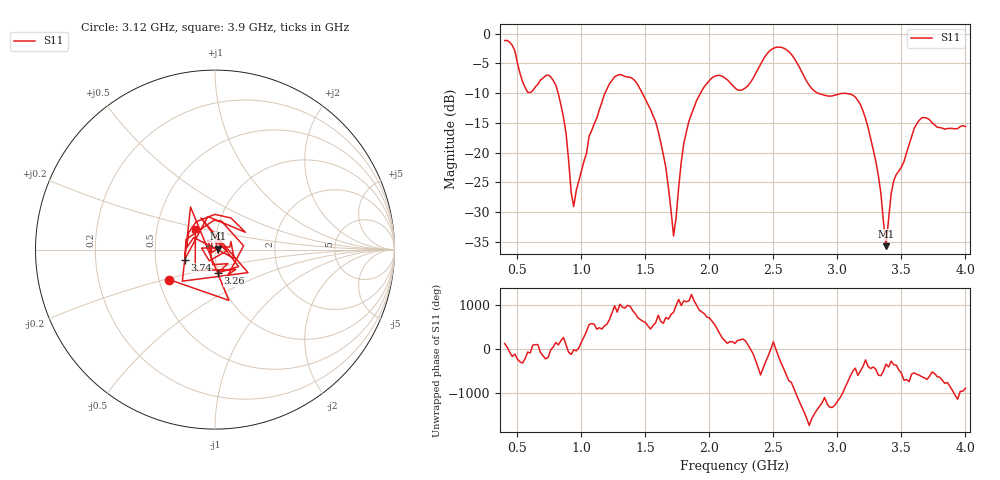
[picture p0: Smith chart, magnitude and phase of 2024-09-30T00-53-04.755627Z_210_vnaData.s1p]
!Created with skrf (http://scikit-rf.org).
# Hz S RI R 50.0
!freq ReS11 ImS11
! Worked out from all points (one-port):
!   181 points, 400 MHz to 4 GHz, reference 50 ohm
!   lowest |S11| = -35.7 dB at 3.38 GHz (marker M1), VSWR 1.03, Z = 51.6 + j0.538 ohm
!   |S11| at or under -10 dB: 818.2 MHz to 1.184 GHz (366.2 MHz wide, 36.6 % of centre); 1.476 GHz to 1.931 GHz (455.3 MHz wide, 26.7 % of centre); 2.847 GHz to end of sweep
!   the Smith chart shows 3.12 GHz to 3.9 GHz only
!   S11 on the Smith chart (normalised r, x): 3.12 GHz: 0.57, -0.21; 3.26 GHz: 1.00, -0.26; 3.74 GHz: 0.71, -0.08; 3.9 GHz: 0.78, +0.19
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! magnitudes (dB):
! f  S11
! 400 MHz  -1.2
! 580 MHz  -9.9
! 760 MHz  -7.3
! 860 MHz  -14.1
! 940 MHz  -29.0
! 1.06 GHz  -17.2
! 1.3 GHz  -6.9
! 1.58 GHz  -14.8
! 1.66 GHz  -22.5
! 1.72 GHz  -34.0
! 1.76 GHz  -25.8
! 1.82 GHz  -16.5
! 1.94 GHz  -9.6
! 2.2 GHz  -9.1
! 2.5 GHz  -2.5
! 2.66 GHz  -4.1
! 2.84 GHz  -9.9
! 3.1 GHz  -10.2
! 3.12 GHz  -10.3
! 3.26 GHz  -17.6
! 3.32 GHz  -23.8
! 3.38 GHz  -35.7
! 3.44 GHz  -24.7
! 3.56 GHz  -18.7
! 3.64 GHz  -14.5
! 3.74 GHz  -15.0
! 3.9 GHz  -15.9
! 4 GHz  -15.6
